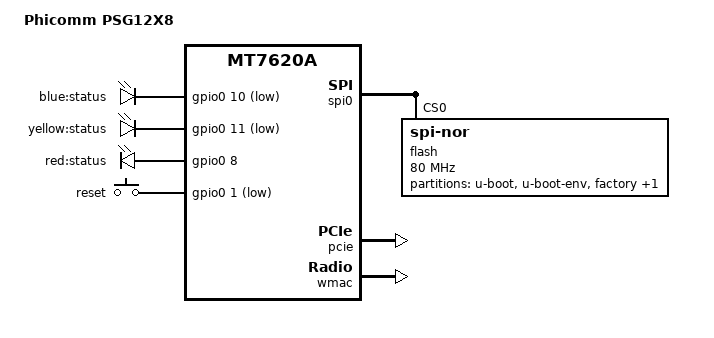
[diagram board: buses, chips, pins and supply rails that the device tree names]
#include "mt7620a.dtsi"

#include <dt-bindings/gpio/gpio.h>
#include <dt-bindings/input/input.h>

/ {
	compatible = "phicomm,psg12x8", "ralink,mt7620a-soc";
	model = "Phicomm PSG12X8";

	aliases {
		led-boot = &led_blue;
		led-failsafe = &led_blue;
		led-running = &led_blue;
		led-upgrade = &led_blue;
	};

	leds {
		compatible = "gpio-leds";

		led_blue: blue {
			label = "blue:status";
			gpios = <&gpio0 10 GPIO_ACTIVE_LOW>;
			default-state = "on";
		};

		yellow {
			label = "yellow:status";
			gpios = <&gpio0 11 GPIO_ACTIVE_LOW>;
		};

		red {
			label = "red:status";
			gpios = <&gpio0 8 GPIO_ACTIVE_HIGH>;
		};
	};

	keys {
		compatible = "gpio-keys";

		reset {
			label = "reset";
			gpios = <&gpio0 1 GPIO_ACTIVE_LOW>;
			linux,code = <KEY_RESTART>;
		};
	};
};

&gpio1 {
	status = "okay";
};

&gpio3 {
	status = "okay";
};

&spi0 {
	status = "okay";

	flash@0 {
		compatible = "jedec,spi-nor";
		reg = <0>;
		spi-max-frequency = <80000000>;
		m25p,fast-read;

		partitions {
			compatible = "fixed-partitions";
			#address-cells = <1>;
			#size-cells = <1>;

			partition@0 {
				label = "u-boot";
				reg = <0x0 0x30000>;
				read-only;
			};

			partition@20000 {
				label = "u-boot-env";
				reg = <0x30000 0x10000>;
				read-only;
			};

			factory: partition@30000 {
				label = "factory";
				reg = <0x40000 0x10000>;
				read-only;
			};

			partition@40000 {
				compatible = "denx,uimage";
				label = "firmware";
				reg = <0x50000 0x7b0000>;
			};
		};
	};
};

&state_default {
	gpio {
		groups = "i2c", "spi refclk", "wled";
		function = "gpio";
	};
};

&ethernet {
	pinctrl-names = "default";
	pinctrl-0 = <&ephy_pins>;

	nvmem-cells = <&macaddr_factory_4>;
	nvmem-cell-names = "mac-address";

	mediatek,portmap = "llllw";
};

&pcie {
	status = "okay";
};

&pcie0 {
	mt76@0,0 {
		reg = <0x0000 0 0 0 0>;
		mediatek,mtd-eeprom = <&factory 0x8000>;
		ieee80211-freq-limit = <5000000 6000000>;
	};
};

&wmac {
	ralink,mtd-eeprom = <&factory 0x0>;
};

&factory {
	compatible = "nvmem-cells";
	#address-cells = <1>;
	#size-cells = <1>;

	macaddr_factory_4: macaddr@4 {
		reg = <0x4 0x6>;
	};
};
